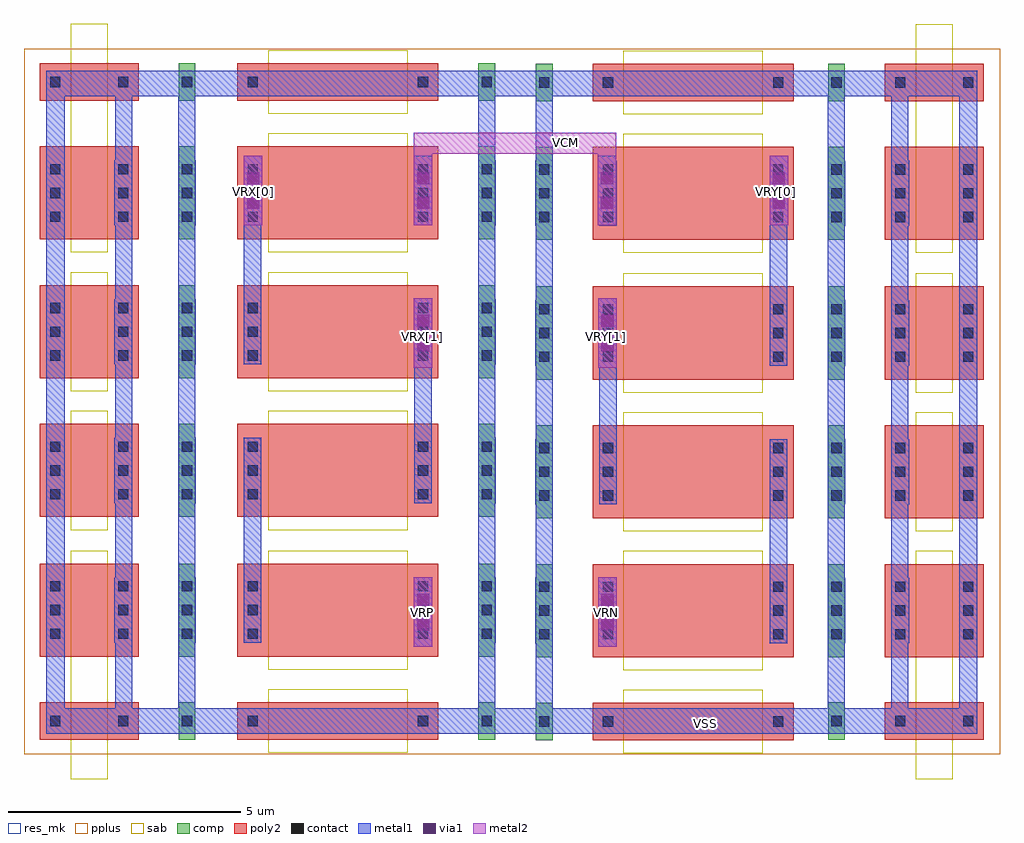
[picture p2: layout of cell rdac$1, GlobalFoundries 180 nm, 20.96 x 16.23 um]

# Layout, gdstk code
from math import pi, radians
import gdstk
lib = gdstk.Library(unit=1e-6, precision=5e-09)
def R(c, l, rs):  # rectangles x0, y0, x1, y1
    for r in rs: c.add(gdstk.rectangle(r[:2], r[2:], *l))
def A(c, l, x, y, w, h, nx, ny, dx, dy):  # array of equal rectangles
    R(c, l, [(x+i*dx, y+j*dy, x+i*dx+w, y+j*dy+h) for i in range(nx) for j in range(ny)])
comp = (22, 0)
poly2 = (30, 0)
pplus = (31, 0)
contact = (33, 0)
metal1 = (34, 0)
via1 = (35, 0)
metal2 = (36, 0)
sab = (49, 0)
res_mk = (110, 5)

ppolyf_u_resistor = lib.new_cell('ppolyf_u_resistor')
R(ppolyf_u_resistor, comp, [(-1.88,0,-1.52,2)])
R(ppolyf_u_resistor, poly2, [(-0.66,0,3.66,2)])
R(ppolyf_u_resistor, pplus, [(-0.96,-0.3,3.96,2.3), (-2.04,-0.16,-1.36,2.16)])
A(ppolyf_u_resistor, contact, -1.81, 0.38, 0.22, 0.22, 1, 3, 0, 0.51)
A(ppolyf_u_resistor, contact, -0.44, 0.38, 0.22, 0.22, 1, 3, 0, 0.51)
A(ppolyf_u_resistor, contact, 3.22, 0.38, 0.22, 0.22, 1, 3, 0, 0.51)
R(ppolyf_u_resistor, metal1, [(-1.89,0.3,-1.51,1.7), (-0.52,0.3,-0.14,1.7), (3.14,0.3,3.52,1.7)])
R(ppolyf_u_resistor, sab, [(0,-0.28,3,2.28)])
R(ppolyf_u_resistor, res_mk, [(0,0,3,2)])

ppolyf_u_resistor_2 = lib.new_cell('ppolyf_u_resistor$2')
R(ppolyf_u_resistor_2, comp, [(-1.88,0,-1.52,2)])
R(ppolyf_u_resistor_2, poly2, [(-0.66,0,1.46,2)])
R(ppolyf_u_resistor_2, pplus, [(-0.96,-0.3,1.76,2.3), (-2.04,-0.16,-1.36,2.16)])
A(ppolyf_u_resistor_2, contact, -1.81, 0.38, 0.22, 0.22, 1, 3, 0, 0.51)
A(ppolyf_u_resistor_2, contact, -0.44, 0.38, 0.22, 0.22, 1, 3, 0, 0.51)
A(ppolyf_u_resistor_2, contact, 1.02, 0.38, 0.22, 0.22, 1, 3, 0, 0.51)
R(ppolyf_u_resistor_2, metal1, [(-1.89,0.3,-1.51,1.7), (-0.52,0.3,-0.14,1.7), (0.94,0.3,1.32,1.7)])
R(ppolyf_u_resistor_2, sab, [(0,-0.28,0.8,2.28)])
R(ppolyf_u_resistor_2, res_mk, [(0,0,0.8,2)])

ppolyf_u_resistor_3 = lib.new_cell('ppolyf_u_resistor$3')
R(ppolyf_u_resistor_3, comp, [(-1.88,0,-1.52,0.8)])
R(ppolyf_u_resistor_3, poly2, [(-0.66,0,3.66,0.8)])
R(ppolyf_u_resistor_3, pplus, [(-0.96,-0.3,3.96,1.1), (-2.04,-0.16,-1.36,0.96)])
R(ppolyf_u_resistor_3, contact, [(-1.81,0.29,-1.59,0.51), (-0.44,0.29,-0.22,0.51), (3.22,0.29,3.44,0.51)])
R(ppolyf_u_resistor_3, metal1, [(-1.89,0.21,-1.51,0.59), (-0.52,0.21,-0.14,0.59), (3.14,0.21,3.52,0.59)])
R(ppolyf_u_resistor_3, sab, [(0,-0.28,3,1.08)])
R(ppolyf_u_resistor_3, res_mk, [(0,0,3,0.8)])

via_dev_32 = lib.new_cell('via_dev$32')

via_dev_1 = lib.new_cell('via_dev$1')
R(via_dev_1, metal1, [(0,0,0.4,1.5)])
R(via_dev_1, via1, [(0.07,0.355,0.33,0.615), (0.07,0.885,0.33,1.145)])
R(via_dev_1, metal2, [(0,0,0.4,1.5)])

ppolyf_u_resistor_5 = lib.new_cell('ppolyf_u_resistor$5')
R(ppolyf_u_resistor_5, comp, [(-1.88,0,-1.52,0.8)])
R(ppolyf_u_resistor_5, poly2, [(-0.66,0,1.46,0.8)])
R(ppolyf_u_resistor_5, pplus, [(-0.96,-0.3,1.76,1.1), (-2.04,-0.16,-1.36,0.96)])
R(ppolyf_u_resistor_5, contact, [(-1.81,0.29,-1.59,0.51), (-0.44,0.29,-0.22,0.51), (1.02,0.29,1.24,0.51)])
R(ppolyf_u_resistor_5, metal1, [(-1.89,0.21,-1.51,0.59), (-0.52,0.21,-0.14,0.59), (0.94,0.21,1.32,0.59)])
R(ppolyf_u_resistor_5, sab, [(0,-0.855,0.8,1.655)])
R(ppolyf_u_resistor_5, res_mk, [(0,0,0.8,0.8)])

rdac_1 = lib.new_cell('rdac$1')
R(rdac_1, pplus, [(-10.57,-7.705,10.39,7.455)])
R(rdac_1, metal1, [(-10.09,-7.255,-9.7,6.975), (-10.09,-7.255,9.9,-6.715), (-8.61,-7.255,-8.24,6.975), (-7.26,-7.255,-6.89,6.975), (-0.82,-7.255,-0.45,6.975), (0.42,-7.255,0.79,6.975), (6.69,-7.255,7.06,6.975), (8.05,-7.255,8.42,6.975), (9.52,-7.255,9.9,6.975), (-2.23,-7.185,-0.45,-6.795), (5.44,-7.185,7.06,-6.795), (-7.26,-7.175,-5.51,-6.795), (0.41,-7.175,2.16,-6.795), (-5.85,-5.305,-5.47,-0.905), (5.44,-5.305,5.82,-0.935), (1.78,-2.335,2.16,2.045), (-2.19,-2.305,-1.81,2.075), (5.44,0.645,5.82,5.045), (-5.85,0.675,-5.47,5.045), (-10.09,6.435,9.9,6.975), (5.44,6.495,7.06,6.905), (-7.26,6.525,-5.51,6.905), (-2.23,6.525,-0.45,6.905), (0.41,6.525,2.16,6.905)])
R(rdac_1, metal2, [(-2.2,3.655,-1.8,5.645), (1.75,3.655,2.15,5.645), (-2.2,5.195,2.15,5.645)])
rdac_1.add(gdstk.Reference(ppolyf_u_resistor, (2.3,-5.615)))
rdac_1.add(gdstk.Reference(ppolyf_u_resistor, (2.3,-2.635)))
rdac_1.add(gdstk.Reference(ppolyf_u_resistor, (2.3,0.345)))
rdac_1.add(gdstk.Reference(ppolyf_u_resistor, (2.3,3.345)))
rdac_1.add(gdstk.Reference(ppolyf_u_resistor, (-2.33,5.355), rotation=pi))
rdac_1.add(gdstk.Reference(ppolyf_u_resistor, (-2.33,2.375), rotation=pi))
rdac_1.add(gdstk.Reference(ppolyf_u_resistor, (-2.33,-0.605), rotation=pi))
rdac_1.add(gdstk.Reference(ppolyf_u_resistor, (-2.33,-3.605), rotation=pi))
rdac_1.add(gdstk.Reference(ppolyf_u_resistor_2, (8.58,3.345)))
rdac_1.add(gdstk.Reference(ppolyf_u_resistor_2, (8.58,0.345)))
rdac_1.add(gdstk.Reference(ppolyf_u_resistor_2, (8.58,-2.635)))
rdac_1.add(gdstk.Reference(ppolyf_u_resistor_2, (8.58,-5.615)))
rdac_1.add(gdstk.Reference(ppolyf_u_resistor_2, (8.58,-2.635)))
rdac_1.add(gdstk.Reference(ppolyf_u_resistor_2, (8.58,0.345)))
rdac_1.add(gdstk.Reference(ppolyf_u_resistor_2, (8.58,3.345)))
rdac_1.add(gdstk.Reference(ppolyf_u_resistor_2, (-8.77,-3.605), rotation=pi))
rdac_1.add(gdstk.Reference(ppolyf_u_resistor_2, (-8.77,-0.605), rotation=pi))
rdac_1.add(gdstk.Reference(ppolyf_u_resistor_2, (-8.77,2.375), rotation=pi))
rdac_1.add(gdstk.Reference(ppolyf_u_resistor_2, (-8.77,5.355), rotation=pi))
rdac_1.add(gdstk.Reference(ppolyf_u_resistor_2, (-8.77,2.375), rotation=pi))
rdac_1.add(gdstk.Reference(ppolyf_u_resistor_2, (-8.77,-0.605), rotation=pi))
rdac_1.add(gdstk.Reference(ppolyf_u_resistor_2, (-8.77,-3.605), rotation=pi))
rdac_1.add(gdstk.Reference(ppolyf_u_resistor_3, (2.3,6.325)))
rdac_1.add(gdstk.Reference(ppolyf_u_resistor_3, (-2.33,6.335), rotation=pi, x_reflection=True))
rdac_1.add(gdstk.Reference(ppolyf_u_resistor_3, (2.3,-7.395)))
rdac_1.add(gdstk.Reference(ppolyf_u_resistor_3, (-2.33,-7.385), rotation=pi, x_reflection=True))
rdac_1.add(gdstk.Reference(via_dev_32, (-16.14,16.175)))
rdac_1.add(gdstk.Reference(via_dev_1, (-2.2,3.655)))
rdac_1.add(gdstk.Reference(via_dev_1, (1.75,3.655)))
rdac_1.add(gdstk.Reference(via_dev_1, (1.76,-5.395)))
rdac_1.add(gdstk.Reference(via_dev_1, (-2.2,-5.395)))
rdac_1.add(gdstk.Reference(via_dev_1, (-2.2,0.595)))
rdac_1.add(gdstk.Reference(via_dev_1, (1.76,0.595)))
rdac_1.add(gdstk.Reference(via_dev_1, (-5.85,3.655)))
rdac_1.add(gdstk.Reference(via_dev_1, (5.44,3.655)))
rdac_1.add(gdstk.Reference(ppolyf_u_resistor_5, (-8.77,7.135), rotation=pi))
rdac_1.add(gdstk.Reference(ppolyf_u_resistor_5, (8.58,6.325)))
rdac_1.add(gdstk.Reference(ppolyf_u_resistor_5, (-8.77,-6.585), rotation=pi))
rdac_1.add(gdstk.Reference(ppolyf_u_resistor_5, (8.58,-7.385)))
rdac_1.add(gdstk.Label('VSS', (4.07,-7.035), layer=34, texttype=10))
rdac_1.add(gdstk.Label('VCM', (1.06,5.435), layer=36, texttype=10))
rdac_1.add(gdstk.Label('VRX[0]', (-5.645,4.39), layer=36, texttype=10))
rdac_1.add(gdstk.Label('VRX[1]', (-2.01,1.265), layer=36, texttype=10))
rdac_1.add(gdstk.Label('VRY[0]', (5.58,4.395), layer=36, texttype=10))
rdac_1.add(gdstk.Label('VRY[1]', (1.945,1.27), layer=36, texttype=10))
rdac_1.add(gdstk.Label('VRP', (-2.01,-4.655), layer=36, texttype=10))
rdac_1.add(gdstk.Label('VRN', (1.945,-4.65), layer=36, texttype=10))

lib.write_gds('rdac_1.gds')
